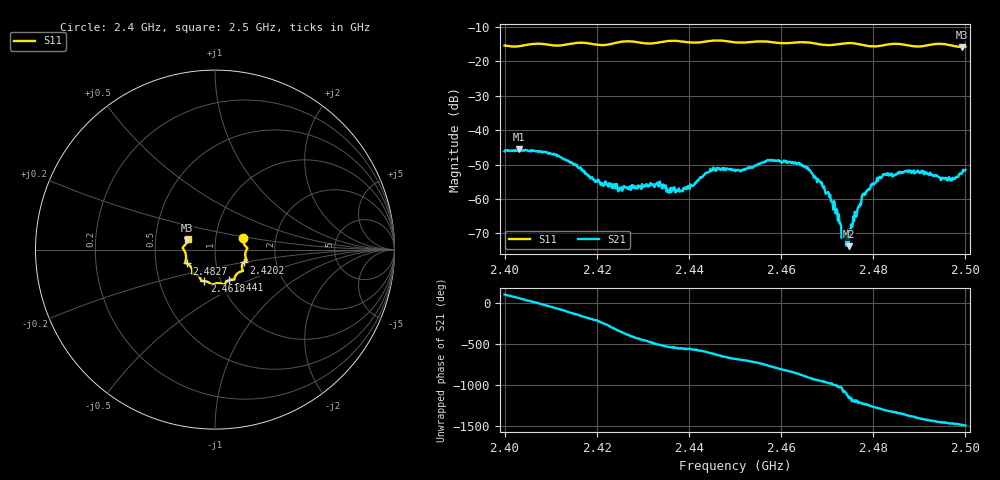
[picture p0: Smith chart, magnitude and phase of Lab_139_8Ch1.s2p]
# Hz S RI R 50
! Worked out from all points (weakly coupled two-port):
!   601 points, 2.4 GHz to 2.5 GHz, reference 50 ohm
!   highest |S21| = -45.62 dB at 2.4032 GHz (marker M1); lowest = -73.8 dB at 2.4747 GHz (marker M2)
!   lowest |S11| = -15.8 dB at 2.4993 GHz (marker M3), VSWR 1.39, Z = 36.5 + j3.81 ohm
!   |S11| at or under -10 dB: start of sweep to end of sweep
!   S12 and S22 are empty: the file has one direction only
!   S11 on the Smith chart (normalised r, x): 2.4 GHz: 1.36, +0.18; 2.4202 GHz: 1.36, -0.20; 2.441 GHz: 1.10, -0.39; 2.4618 GHz: 0.84, -0.30; 2.4827 GHz: 0.72, -0.11; 2.5 GHz: 0.73, +0.09
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2.4e9  0.1587 0.0629  -0.00112 0.00478  0 0  0 0
2.403167e9  0.1643 0.027  0.00263 0.00452  0 0  0 0
2.411167e9  0.1691 -0.0184  0.00195 -0.00399  0 0  0 0
2.416667e9  0.1772 -0.0607  -0.00247 -0.000833  0 0  0 0
2.420167e9  0.159 -0.0715  -0.00144 0.00104  0 0  0 0
2.425167e9  0.1544 -0.1143  0.00139 0.000302  0 0  0 0
2.433333e9  0.1117 -0.1508  -0.00126 -0.00087  0 0  0 0
2.435667e9  0.1093 -0.1659  -0.00123 -8.72e-05  0 0  0 0
2.441e9  0.0789 -0.1698  -0.00138 0.000732  0 0  0 0
2.445167e9  0.0517 -0.1936  -0.000626 0.00254  0 0  0 0
2.45e9  0.0285 -0.1876  0.00197 0.00159  0 0  0 0
2.461833e9  -0.0592 -0.1755  -0.00135 -0.00315  0 0  0 0
2.466667e9  -0.079 -0.1683  -0.00226 0.000718  0 0  0 0
2.470667e9  -0.1007 -0.1402  -0.0002 0.00112  0 0  0 0
2.473667e9  -0.1238 -0.1346  0.000302 6.95e-05  0 0  0 0
2.474667e9  -0.1268 -0.1342  4.8e-05 -0.000199  0 0  0 0
2.478e9  -0.1273 -0.116  -0.00101 -0.00051  0 0  0 0
2.482667e9  -0.1559 -0.077  -0.00161 0.00168  0 0  0 0
2.483333e9  -0.1603 -0.075  -0.00129 0.00176  0 0  0 0
2.496667e9  -0.1711 0.0212  0.00174 -0.000926  0 0  0 0
2.499333e9  -0.1541 0.0509  0.00178 -0.00166  0 0  0 0
2.5e9  -0.1523 0.0602  0.00166 -0.00206  0 0  0 0
